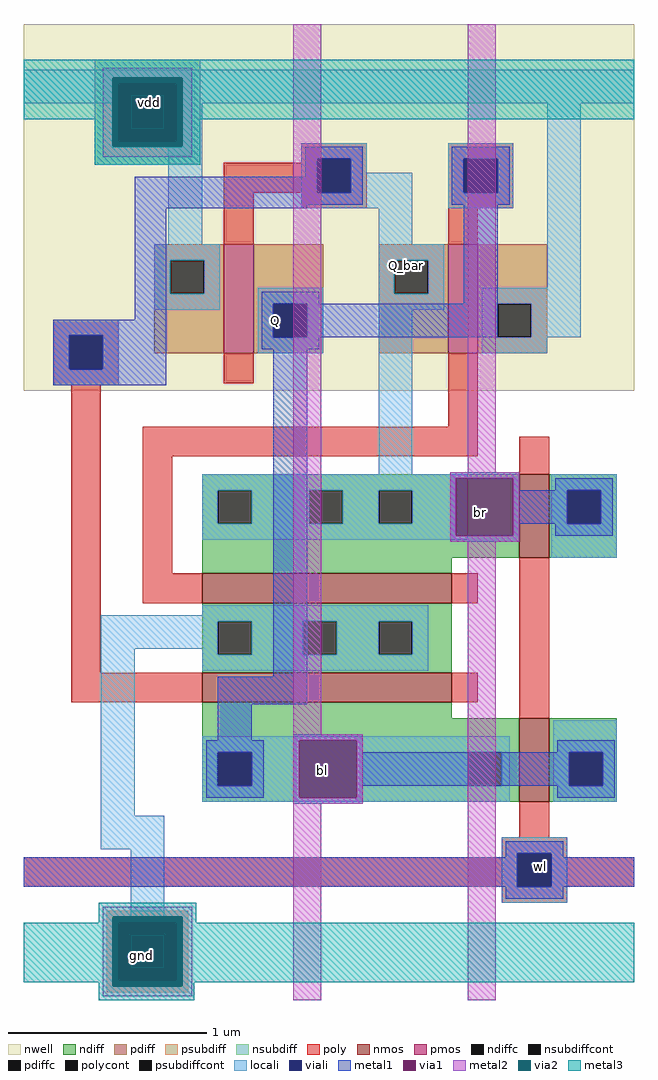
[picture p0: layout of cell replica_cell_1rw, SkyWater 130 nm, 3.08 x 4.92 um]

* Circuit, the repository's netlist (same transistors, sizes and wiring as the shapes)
* NGSPICE file created from replica_cell_1rw.ext - technology: sky130A

.subckt replica_cell_1rw bl br wl vdd gnd
X0 Q wl bl gnd sky130_fd_pr__nfet_01v8 ad=7.728e+11p pd=4.2e+06u as=1.428e+11p ps=1.52e+06u w=420000u l=150000u
X1 gnd Q Q_bar gnd sky130_fd_pr__nfet_01v8 ad=8.82e+11p pd=6.44e+06u as=7.728e+11p ps=4.2e+06u w=1.26e+06u l=150000u
X2 Q Q_bar gnd gnd sky130_fd_pr__nfet_01v8 ad=0p pd=0u as=0p ps=0u w=1.26e+06u l=150000u
X3 Q_bar wl br gnd sky130_fd_pr__nfet_01v8 ad=0p pd=0u as=1.428e+11p ps=1.52e+06u w=420000u l=150000u
X4 vdd Q Q_bar vdd sky130_fd_pr__pfet_01v8 ad=3.85e+11p pd=3.6e+06u as=1.925e+11p ps=1.8e+06u w=550000u l=150000u
X5 Q Q_bar vdd vdd sky130_fd_pr__pfet_01v8 ad=1.925e+11p pd=1.8e+06u as=0p ps=0u w=550000u l=150000u
.ends

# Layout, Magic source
magic
tech sky130A
<< nwell >>
rect 0 283 308 468
<< nmos >>
rect 250 199 265 241
rect 90 176 216 191
rect 90 126 216 141
rect 250 76 265 118
<< pmos >>
rect 101 302 116 357
rect 214 302 229 357
<< ndiff >>
rect 90 233 250 241
rect 90 216 98 233
rect 115 216 144 233
rect 161 216 179 233
rect 196 216 250 233
rect 90 199 250 216
rect 265 233 299 241
rect 265 216 274 233
rect 291 216 299 233
rect 265 199 299 216
rect 90 191 216 199
rect 90 167 216 176
rect 90 150 98 167
rect 115 150 141 167
rect 158 150 179 167
rect 196 150 216 167
rect 90 141 216 150
rect 90 118 216 126
rect 90 101 250 118
rect 90 84 98 101
rect 115 84 224 101
rect 241 84 250 101
rect 90 76 250 84
rect 265 101 299 118
rect 265 84 275 101
rect 292 84 299 101
rect 265 76 299 84
<< pdiff >>
rect 66 349 101 357
rect 66 332 74 349
rect 91 332 101 349
rect 66 302 101 332
rect 116 327 151 357
rect 116 310 126 327
rect 143 310 151 327
rect 116 302 151 310
rect 179 349 214 357
rect 179 332 187 349
rect 204 332 214 349
rect 179 302 214 332
rect 229 327 264 357
rect 229 310 239 327
rect 256 310 264 327
rect 229 302 264 310
<< ndiffc >>
rect 98 216 115 233
rect 144 216 161 233
rect 179 216 196 233
rect 274 216 291 233
rect 98 150 115 167
rect 141 150 158 167
rect 179 150 196 167
rect 98 84 115 101
rect 224 84 241 101
rect 275 84 292 101
<< pdiffc >>
rect 74 332 91 349
rect 126 310 143 327
rect 187 332 204 349
rect 239 310 256 327
<< psubdiff >>
rect 42 9 83 21
rect 42 -8 54 9
rect 71 -8 83 9
rect 42 -20 83 -8
<< nsubdiff >>
rect 36 432 89 450
rect 36 415 54 432
rect 71 415 89 432
rect 36 397 89 415
<< psubdiffcont >>
rect 54 -8 71 9
<< nsubdiffcont >>
rect 54 415 71 432
<< poly >>
rect 140 400 173 408
rect 140 398 148 400
rect 101 383 148 398
rect 165 383 173 400
rect 101 357 116 383
rect 140 375 173 383
rect 214 400 247 408
rect 214 383 222 400
rect 239 383 247 400
rect 214 375 247 383
rect 214 357 229 375
rect 15 311 48 319
rect 15 294 23 311
rect 40 294 48 311
rect 15 286 48 294
rect 101 287 116 302
rect 24 141 39 286
rect 214 265 229 302
rect 60 250 229 265
rect 60 191 75 250
rect 250 241 265 260
rect 60 176 90 191
rect 216 176 229 191
rect 24 126 90 141
rect 216 126 229 141
rect 250 118 265 199
rect 250 58 265 76
rect 241 50 274 58
rect 241 48 249 50
rect 0 33 249 48
rect 266 48 274 50
rect 266 33 308 48
rect 241 25 274 33
<< polycont >>
rect 148 383 165 400
rect 222 383 239 400
rect 23 294 40 311
rect 249 33 266 50
<< locali >>
rect 0 432 308 445
rect 0 428 54 432
rect 46 415 54 428
rect 71 428 308 432
rect 71 415 90 428
rect 46 407 90 415
rect 73 357 90 407
rect 140 400 173 408
rect 140 383 148 400
rect 165 393 173 400
rect 214 400 247 408
rect 165 383 196 393
rect 140 375 196 383
rect 214 383 222 400
rect 239 383 247 400
rect 214 375 247 383
rect 179 357 196 375
rect 66 349 99 357
rect 66 332 74 349
rect 91 332 99 349
rect 179 349 212 357
rect 66 324 99 332
rect 118 327 151 335
rect 15 311 48 319
rect 15 294 23 311
rect 40 294 48 311
rect 118 310 126 327
rect 143 310 151 327
rect 118 302 151 310
rect 179 332 187 349
rect 204 332 212 349
rect 264 335 281 428
rect 179 324 212 332
rect 231 327 281 335
rect 15 286 48 294
rect 179 241 196 324
rect 231 310 239 327
rect 256 310 281 327
rect 231 302 264 310
rect 90 233 224 241
rect 90 216 98 233
rect 115 216 144 233
rect 161 216 179 233
rect 196 216 224 233
rect 90 208 224 216
rect 266 233 299 241
rect 266 216 274 233
rect 291 216 299 233
rect 266 199 299 216
rect 90 170 204 175
rect 39 167 204 170
rect 39 153 98 167
rect 39 69 56 153
rect 90 150 98 153
rect 115 150 141 167
rect 158 150 179 167
rect 196 150 204 167
rect 90 142 204 150
rect 90 101 245 109
rect 90 84 98 101
rect 115 84 224 101
rect 241 84 245 101
rect 90 76 245 84
rect 267 101 299 117
rect 267 84 275 101
rect 292 84 299 101
rect 267 76 299 84
rect 39 52 71 69
rect 54 17 71 52
rect 241 50 274 58
rect 241 33 249 50
rect 266 33 274 50
rect 241 25 274 33
rect 46 9 79 17
rect 45 -8 54 9
rect 71 -8 80 9
rect 46 -16 79 -8
<< viali >>
rect 54 415 71 432
rect 148 383 165 400
rect 222 383 239 400
rect 23 294 40 311
rect 126 310 143 327
rect 274 216 291 233
rect 98 84 115 101
rect 275 84 292 101
rect 249 33 266 50
rect 54 -8 71 9
<< metal1 >>
rect 45 438 80 441
rect 45 409 48 438
rect 77 409 80 438
rect 45 406 80 409
rect 142 400 171 406
rect 142 391 148 400
rect 56 383 148 391
rect 165 383 171 400
rect 56 377 171 383
rect 216 400 245 406
rect 216 383 222 400
rect 239 383 245 400
rect 216 377 245 383
rect 56 375 143 377
rect 56 319 72 375
rect 15 311 72 319
rect 15 294 23 311
rect 40 294 72 311
rect 120 327 149 333
rect 222 327 239 377
rect 120 310 126 327
rect 143 310 239 327
rect 120 304 149 310
rect 15 286 72 294
rect 126 139 143 304
rect 215 239 250 242
rect 215 210 218 239
rect 247 233 250 239
rect 268 233 297 239
rect 247 216 274 233
rect 291 216 297 233
rect 247 210 250 216
rect 268 210 297 216
rect 215 207 250 210
rect 98 125 143 139
rect 98 107 115 125
rect 136 107 171 110
rect 92 101 121 107
rect 92 84 98 101
rect 115 84 121 101
rect 92 78 121 84
rect 136 78 139 107
rect 168 101 171 107
rect 269 101 298 107
rect 168 84 275 101
rect 292 84 298 101
rect 168 78 171 84
rect 269 78 298 84
rect 136 75 171 78
rect 243 50 272 56
rect 243 48 249 50
rect 0 33 249 48
rect 266 48 272 50
rect 266 33 308 48
rect 243 27 272 33
rect 45 15 80 18
rect 45 -14 48 15
rect 77 -14 80 15
rect 45 -17 80 -14
<< via1 >>
rect 48 432 77 438
rect 48 415 54 432
rect 54 415 71 432
rect 71 415 77 432
rect 48 409 77 415
rect 218 210 247 239
rect 139 78 168 107
rect 48 9 77 15
rect 48 -8 54 9
rect 54 -8 71 9
rect 71 -8 77 9
rect 48 -14 77 -8
<< metal2 >>
rect 40 441 85 446
rect 40 406 45 441
rect 80 406 85 441
rect 40 401 85 406
rect 136 110 150 468
rect 224 242 238 468
rect 215 239 250 242
rect 215 210 218 239
rect 247 210 250 239
rect 215 207 250 210
rect 136 107 171 110
rect 136 78 139 107
rect 168 78 171 107
rect 136 75 171 78
rect 40 18 85 23
rect 40 -17 45 18
rect 80 -17 85 18
rect 40 -22 85 -17
rect 136 -24 150 75
rect 224 -24 238 207
<< via2 >>
rect 45 438 80 441
rect 45 409 48 438
rect 48 409 77 438
rect 77 409 80 438
rect 45 406 80 409
rect 45 15 80 18
rect 45 -14 48 15
rect 48 -14 77 15
rect 77 -14 80 15
rect 45 -17 80 -14
<< metal3 >>
rect 0 441 308 450
rect 0 420 45 441
rect 36 406 45 420
rect 80 420 308 441
rect 80 406 89 420
rect 36 397 89 406
rect 38 18 87 25
rect 38 15 45 18
rect 0 -15 45 15
rect 38 -17 45 -15
rect 80 15 87 18
rect 80 -15 308 15
rect 80 -17 86 -15
rect 38 -24 86 -17
<< labels >>
flabel locali s 186 340 200 353 0 FreeSans 80 0 0 0 Q_bar
flabel locali s 120 312 134 325 0 FreeSans 80 0 0 0 Q
flabel metal2 s 142 84 159 99 0 FreeSans 200 0 0 0 bl
port 1 nsew
flabel metal2 s 222 214 239 229 0 FreeSans 200 0 0 0 br
port 2 nsew
flabel metal1 s 252 36 269 51 0 FreeSans 200 0 0 0 wl
port 3 nsew
flabel metal3 s 55 421 72 436 0 FreeSans 200 0 0 0 vdd
port 4 nsew
flabel metal3 s 51 -9 68 6 0 FreeSans 200 0 0 0 gnd
port 5 nsew
<< properties >>
string FIXED_BBOX 0 0 308 435
<< end >>
